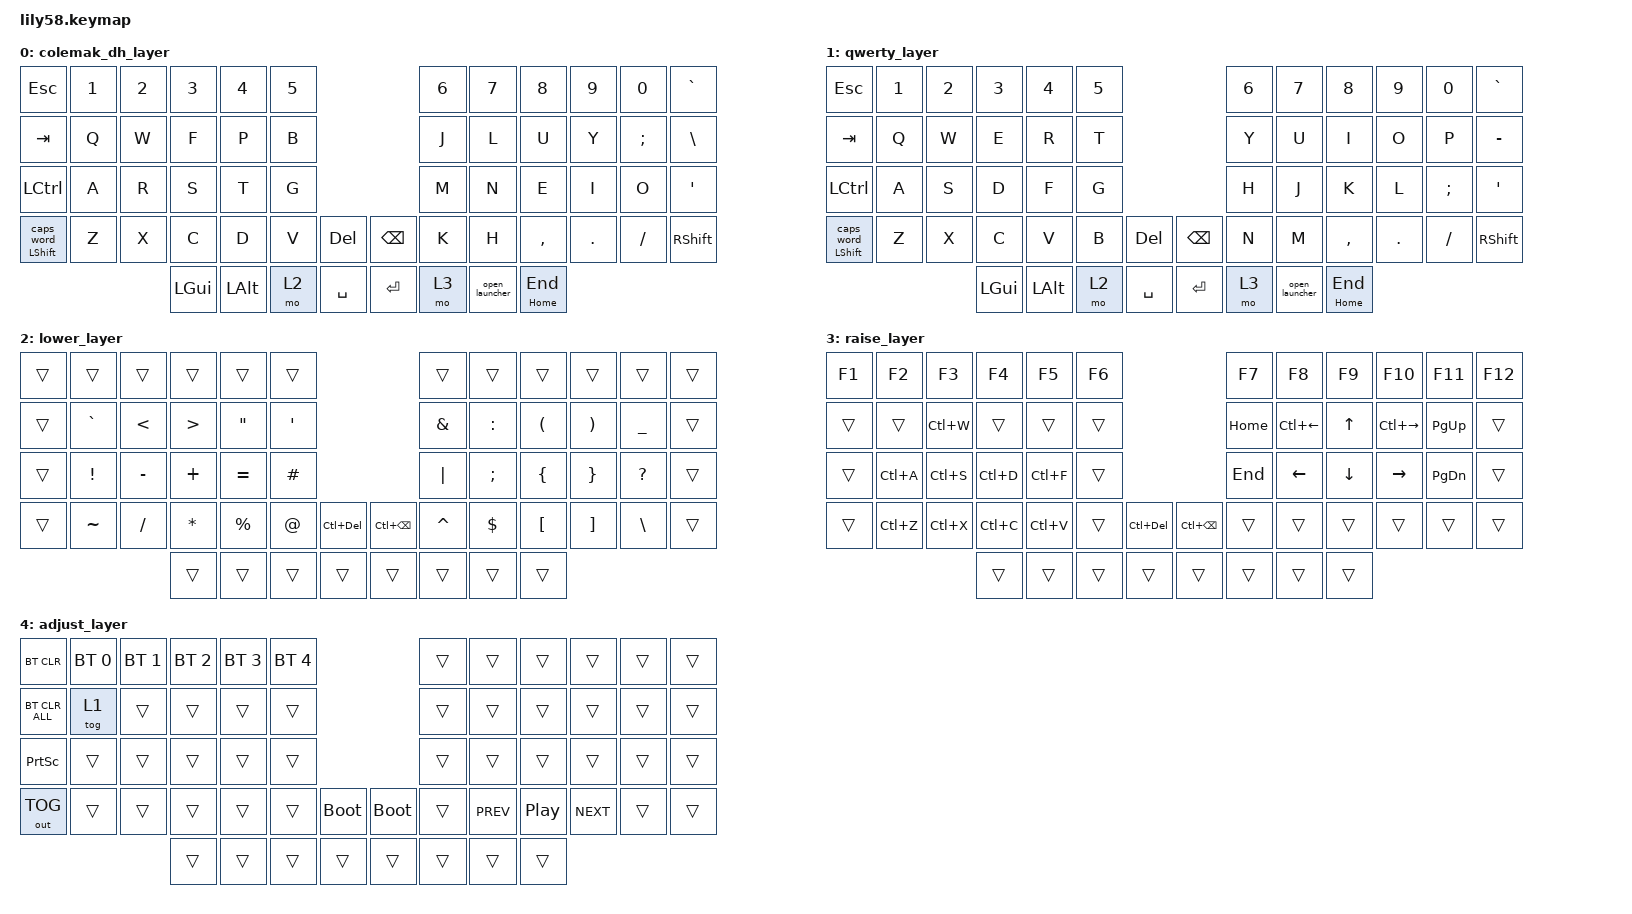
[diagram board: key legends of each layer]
/*
 * Copyright (c) 2020 The ZMK Contributors
 *
 * SPDX-License-Identifier: MIT
 */

#include <behaviors.dtsi>
#include <dt-bindings/zmk/bt.h>
#include <dt-bindings/zmk/keys.h>
#include <dt-bindings/zmk/outputs.h>

/ {
    behaviors {
        caps: caps_tap {
            compatible = "zmk,behavior-hold-tap";
            #binding-cells = <2>;
            flavor = "hold-preferred";
            tapping-term-ms = <200>;
            bindings = <&kp>, <&caps_word>;

            display-name = "Caps-Tap";
        };
    };

    combos {
        compatible = "zmk,combos";

        bootloader_central {
            bindings = <&bootloader>;
            key-positions = <53 54>;
            layers = <4>;
            timeout-ms = <50>;
        };
    };

    macros {
        open_launcher: open_launcher {
            compatible = "zmk,behavior-macro";
            #binding-cells = <0>;
            bindings = <&kp LA(SPACE)>;
            label = "OPEN_LAUNCHER";
        };
    };

    keymap {
        compatible = "zmk,keymap";

        colemak_dh_layer {
            // ------------------------------------------------------------------------------------------------------------
            // |  ESC  |  1  |  2  |  3   |  4   |  5   |                   |  6   |  7    |  8    |  9   |   0   |   `   |
            // |  TAB  |  Q  |  W  |  F   |  P   |  B   |                   |  J   |  L    |  U    |  Y   |   ;   |   -   |
            // |  CTRL |  A  |  R  |  S   |  T   |  G   |                   |  M   |  N    |  E    |  I   |   O   |   '   |
            // | SHIFT |  Z  |  X  |  C   |  D   |  V   |   "["  |  |  "]"  |  K   |  H    |  ,    |  .   |   /   | SHIFT |
            //                     | ALT  | GUI  | LOWER|  SPACE |  | ENTER | RAISE| BSPC  | GUI   |

            bindings = <
&kp ESC        &kp N1  &kp N2  &kp N3    &kp N4    &kp N5                              &kp N6  &kp N7          &kp N8        &kp N9   &kp N0    &kp GRAVE
&kp TAB        &kp Q   &kp W   &kp F     &kp P     &kp B                               &kp J   &kp L           &kp U         &kp Y    &kp SEMI  &kp BACKSLASH
&kp LCTRL      &kp A   &kp R   &kp S     &kp T     &kp G                               &kp M   &kp N           &kp E         &kp I    &kp O     &kp SQT
&caps LSHFT 0  &kp Z   &kp X   &kp C     &kp D     &kp V   &kp DEL      &kp BACKSPACE  &kp K   &kp H           &kp COMMA     &kp DOT  &kp FSLH  &kp RSHFT
                               &kp LGUI  &kp LALT  &mo 2   &kp SPACE    &kp RET        &mo 3   &open_launcher  &mt HOME END
            >;
        };

        qwerty_layer {
            // ------------------------------------------------------------------------------------------------------------
            // |  ESC  |  1  |  2  |  3   |  4   |  5   |                   |  6   |  7    |  8    |  9   |   0   |   `   |
            // |  TAB  |  Q  |  W  |  E   |  R   |  T   |                   |  Y   |  U    |  I    |  O   |   P   |   -   |
            // |  CTRL |  A  |  S  |  D   |  F   |  G   |                   |  H   |  J    |  K    |  L   |   ;   |   '   |
            // | SHIFT |  Z  |  X  |  C   |  V   |  B   |   "["  |  |  "]"  |  N   |  M    |  ,    |  .   |   /   | SHIFT |
            //                     | ALT  | GUI  | LOWER|  SPACE |  | ENTER | RAISE| BSPC  | GUI   |

            bindings = <
&kp ESC        &kp N1  &kp N2  &kp N3    &kp N4    &kp N5                              &kp N6  &kp N7          &kp N8        &kp N9   &kp N0    &kp GRAVE
&kp TAB        &kp Q   &kp W   &kp E     &kp R     &kp T                               &kp Y   &kp U           &kp I         &kp O    &kp P     &kp MINUS
&kp LCTRL      &kp A   &kp S   &kp D     &kp F     &kp G                               &kp H   &kp J           &kp K         &kp L    &kp SEMI  &kp SQT
&caps LSHFT 0  &kp Z   &kp X   &kp C     &kp V     &kp B   &kp DEL      &kp BACKSPACE  &kp N   &kp M           &kp COMMA     &kp DOT  &kp FSLH  &kp RSHFT
                               &kp LGUI  &kp LALT  &mo 2   &kp SPACE    &kp RET        &mo 3   &open_launcher  &mt HOME END
            >;
        };

        lower_layer {
            // ------------------------------------------------------------------------------------------------------------
            // | BTCLR | BT1 | BT2 |  BT3 |  BT4 |  BT5 |                   |      |       |       |      |       |       |
            // |  F1   |  F2 |  F3 |  F4  |  F5  |  F6  |                   |  F7  |  F8   |  F9   |  F10 |  F11  |  F12  |
            // |   `   |  !  |  @  |  #   |  $   |  %   |                   |  ^   |  &    |  *    |  (   |   )   |   ~   |
            // |       |     |     |      |      |      |        |  |       |      |  _    |  +    |  {   |   }   |  "|"  |
            //                     |      |      |      |        |  |       |      |       |       |

            bindings = <
&trans  &trans     &trans     &trans     &trans             &trans                                              &trans     &trans      &trans                &trans                 &trans         &trans
&trans  &kp GRAVE  &kp LT     &kp GT     &kp DOUBLE_QUOTES  &kp SINGLE_QUOTE                                    &kp AMPS   &kp COLON   &kp LEFT_PARENTHESIS  &kp RIGHT_PARENTHESIS  &kp UNDER      &trans
&trans  &kp EXCL   &kp MINUS  &kp PLUS   &kp EQUAL          &kp HASH                                            &kp PIPE   &kp SEMI    &kp LEFT_BRACE        &kp RIGHT_BRACE        &kp QUESTION   &trans
&trans  &kp TILDE  &kp SLASH  &kp ASTRK  &kp PERCENT        &kp AT            &kp LC(DEL)    &kp LC(BACKSPACE)  &kp CARET  &kp DOLLAR  &kp LEFT_BRACKET      &kp RIGHT_BRACKET      &kp BACKSLASH  &trans
                              &trans     &trans             &trans            &trans         &trans             &trans     &trans      &trans
            >;
        };

        raise_layer {
            // ------------------------------------------------------------------------------------------------------------
            // |       |     |     |      |      |      |                   |      |       |       |      |       |       |
            // |   `   |  1  |  2  |  3   |  4   |  5   |                   |  6   |   7   |   8   |  9   |   0   |       |
            // |   F1  |  F2 |  F3 |  F4  |  F5  |  F6  |                   |      |   <-  |   v   |  ^   |  ->   |       |
            // |   F7  |  F8 |  F9 |  F10 |  F11 |  F12 |        |  |       |  +   |   -   |   =   |  [   |   ]   |   \   |
            //                     |      |      |      |        |  |       |      |       |       |

            bindings = <
&kp F1  &kp F2     &kp F3     &kp F4     &kp F5     &kp F6                                    &kp F7    &kp F8              &kp F9    &kp F10        &kp F11    &kp F12
&trans  &trans     &kp LC(W)  &trans     &trans     &trans                                    &kp HOME  &kp LC(LEFT_ARROW)  &kp UP    &kp LC(RIGHT)  &kp PG_UP  &trans
&trans  &kp LC(A)  &kp LC(S)  &kp LC(D)  &kp LC(F)  &trans                                    &kp END   &kp LEFT            &kp DOWN  &kp RIGHT      &kp PG_DN  &trans
&trans  &kp LC(Z)  &kp LC(X)  &kp LC(C)  &kp LC(V)  &trans  &kp LC(DEL)    &kp LC(BACKSPACE)  &trans    &trans              &trans    &trans         &trans     &trans
                              &trans     &trans     &trans  &trans         &trans             &trans    &trans              &trans
            >;
        };

        adjust_layer {
            bindings = <
&bt BT_CLR       &bt BT_SEL 0  &bt BT_SEL 1  &bt BT_SEL 2  &bt BT_SEL 3  &bt BT_SEL 4                              &trans  &trans      &trans            &trans      &trans  &trans
&bt BT_CLR_ALL   &tog 1        &trans        &trans        &trans        &trans                                    &trans  &trans      &trans            &trans      &trans  &trans
&kp PRINTSCREEN  &trans        &trans        &trans        &trans        &trans                                    &trans  &trans      &trans            &trans      &trans  &trans
&out OUT_TOG     &trans        &trans        &trans        &trans        &trans        &bootloader    &bootloader  &trans  &kp C_PREV  &kp C_PLAY_PAUSE  &kp C_NEXT  &trans  &trans
                                             &trans        &trans        &trans        &trans         &trans       &trans  &trans      &trans
            >;
        };
    };

    conditional_layers {
        compatible = "zmk,conditional-layers";

        show_adjust_layer {
            if-layers = <2 3>;
            then-layer = <4>;
        };
    };
};
